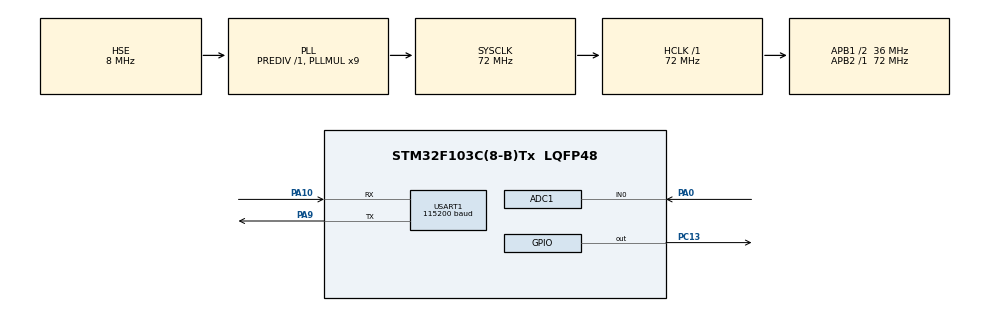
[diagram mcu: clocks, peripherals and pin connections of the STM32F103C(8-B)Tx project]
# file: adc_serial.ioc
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ADC1.Channel-0\#ChannelRegularConversion=ADC_CHANNEL_0
ADC1.NbrOfConversionFlag=1
ADC1.Rank-0\#ChannelRegularConversion=1
ADC1.SamplingTime-0\#ChannelRegularConversion=ADC_SAMPLETIME_71CYCLES_5
ADC1.master=1
Mcu.Family=STM32F1
Mcu.Name=STM32F103C(8-B)Tx
Mcu.Package=LQFP48
NVIC.PriorityGroup=NVIC_PRIORITYGROUP_4
PA0-WKUP.Signal=ADCx_IN0
PA10.Mode=Asynchronous
PA10.Signal=USART1_RX
PA13.Mode=Serial_Wire
PA13.Signal=SYS_JTMS-SWDIO
PA14.Mode=Serial_Wire
PA14.Signal=SYS_JTCK-SWCLK
PA9.Mode=Asynchronous
PA9.Signal=USART1_TX
PC13-TAMPER-RTC.Signal=GPIO_Output
PC14-OSC32_IN.Mode=LSE-External-Oscillator
PC14-OSC32_IN.Signal=RCC_OSC32_IN
PC15-OSC32_OUT.Mode=LSE-External-Oscillator
PC15-OSC32_OUT.Signal=RCC_OSC32_OUT
PD0-OSC_IN.Mode=HSE-External-Oscillator
PD0-OSC_IN.Signal=RCC_OSC_IN
PD1-OSC_OUT.Mode=HSE-External-Oscillator
PD1-OSC_OUT.Signal=RCC_OSC_OUT
ProjectManager.HeapSize=0x200
ProjectManager.StackSize=0x400
ProjectManager.TargetToolchain=Makefile
RCC.ADCPresc=RCC_ADCPCLK2_DIV6
RCC.AHBFreq_Value=72000000
RCC.APB1CLKDivider=RCC_HCLK_DIV2
RCC.APB1Freq_Value=36000000
RCC.APB1TimFreq_Value=72000000
RCC.APB2Freq_Value=72000000
RCC.APB2TimFreq_Value=72000000
RCC.HCLKFreq_Value=72000000
RCC.PLLMUL=RCC_PLL_MUL9
RCC.PLLSourceVirtual=RCC_PLLSOURCE_HSE
RCC.SYSCLKFreq_VALUE=72000000
RCC.SYSCLKSource=RCC_SYSCLKSOURCE_PLLCLK
RCC.USBFreq_Value=72000000
SH.ADCx_IN0.0=ADC1_IN0,IN0
USART1.BaudRate=115200
USART1.VirtualMode=VM_ASYNC
board=custom

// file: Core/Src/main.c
/* USER CODE BEGIN Header */
/**
  ******************************************************************************
  * @file           : main.c
  * @brief          : Main program body
  ******************************************************************************
  * @attention
  *
  * Copyright (c) 2026 STMicroelectronics.
  * All rights reserved.
  *
  * This software is licensed under terms that can be found in the LICENSE file
  * in the root directory of this software component.
  * If no LICENSE file comes with this software, it is provided AS-IS.
  *
  ******************************************************************************
  */
/* USER CODE END Header */
#include "main.h"

/* USER CODE BEGIN Includes */
  #include <stdio.h>
  #include <sys/stat.h>
/* USER CODE END Includes */

/* USER CODE BEGIN PD */
  #define VREF_MV          3300u      /* ADC 参考电压，单位 mV。板子接 3.3V 就写 3300 */
  #define ADC_FULL_SCALE   4095.0f    /* 12 位 ADC 满量程 */
  #define SEND_PERIOD_MS   100u       /* 100ms → 10Hz，和 PC 侧 publish_rate 对上 */
/* USER CODE END PD */

ADC_HandleTypeDef hadc1;

UART_HandleTypeDef huart1;

/* USER CODE BEGIN PV */
  static uint16_t seq = 0;            /* 帧序号：PC 端靠它检测丢帧  为 Step 5 预留，v1 协议暂不发 */
  static uint32_t last_led_tick = 0;
/* USER CODE END PV */

void SystemClock_Config(void);
static void MX_GPIO_Init(void);
static void MX_ADC1_Init(void);
static void MX_USART1_UART_Init(void);

/* USER CODE BEGIN 0 */

/* GCC/newlib 的 printf 最终走到 _write；
   newlib 的 printf → _write_r → _write。
   CubeMX 生成的 Makefile 里 LIBS 含 -lnosys，它提供的空 _write 是弱引用，
   被这里定义的强符号覆盖掉 —— 所以这段写了就生效。 */
int _write(int fd,char *ptr, int len)
{
    (void)fd;
    HAL_UART_Transmit(&huart1, (uint8_t *)ptr, (uint16_t)len, HAL_MAX_DELAY);
    return len;
}

/* USER CODE END 0 */

int main(void)
{

  /* MCU Configuration--------------------------------------------------------*/

  /* Reset of all peripherals, Initializes the Flash interface and the Systick. */
  HAL_Init();

  /* Configure the system clock */
  SystemClock_Config();

  /* Initialize all configured peripherals */
  MX_GPIO_Init();
  MX_ADC1_Init();
  MX_USART1_UART_Init();
  /* USER CODE BEGIN 2 */
  /* ── ADC 校准：F1 的 HAL 不会自动做 ────────────────────────
   * 不校准的话，读数会有一个几十 LSB 的固定偏移。
   * 必须在 ADC 初始化之后、第一次 Start 之前调用一次。
   */
  if (HAL_ADCEx_Calibration_Start(&hadc1) != HAL_OK)
  {
    Error_Handler();
  }

  /* 上电横幅：插上板子先在 miniterm 里看到这行，
   就同时证明了「线对了 + 波特率对了 + 板子在跑」。
   PC 侧 parse_line() 会把它当解析失败静默丢掉，不影响数据。 */
  /* 波特率从 huart1 实读，不再写死 —— 否则改了 BaudRate 以后，
     横幅会撒谎说 115200，把你往错的方向带。 */
  printf("STM32 serial bridge ready | proto=v3 | baud=%lu\r\n",
         (unsigned long)huart1.Init.BaudRate);

  /* ⚠️ seq / last_led_tick 已经定义在上面的 USER CODE BEGIN PV 里（全局），
     这里【不要】再定义一遍 —— 局部变量会遮蔽全局，白留一份死代码。 */
  /* USER CODE END 2 */

  /* Infinite loop */
  while (1)
  {

    /* USER CODE BEGIN 3 */
    /* ── 1) 读一次 ADC ─────────────────────────────── */
    HAL_ADC_Start(&hadc1);
    HAL_ADC_PollForConversion(&hadc1, 10);
    uint32_t raw = HAL_ADC_GetValue(&hadc1);        /* 0 ~ 4095 */

    /* ── 2) 换算成毫伏，【整数化】输出 ────────────────
     * 用整数而不是 float，是为了避开 MCU 上的浮点 printf：
     * Cortex-M3 没有硬件 FPU，浮点格式化又慢又要加额外链接选项。
     * 发的是"毫伏"，PC 端用 -p scale:=0.001 乘回工程量。
     */
    int32_t mv = (int32_t)((float)raw * (float)VREF_MV / ADC_FULL_SCALE + 0.5f);
    int32_t temp_c_x100 = 2500;   /* 温度占位 25.00℃，接了真传感器再换 */
    /* ── 3) 按行发送。行尾 \r\n 是协议的一部分，不能省 ───
     * PC 侧 readline() 靠 \n 切帧，strip() 会吃掉 \r。
     * 用 \r\n 而不是单 \n，是为了在 Windows 串口助手这类工具里
     * 也能正常换行显示（它们不像 miniterm 那样自动处理 \n）。 */
    /* v3：seq, value_mv, raw_adc, temp_c_x100, mcu_tick_ms */
    printf("%u,%ld,%lu,%ld,%lu\r\n",
           (unsigned)seq, (long)mv,
           (unsigned long)raw, (long)temp_c_x100,
           (unsigned long)HAL_GetTick());

    /* ── 4) 帧号自增 ───────────────────────────────── */
    seq++;
    /* LED 心跳：500ms 翻转一次 */
    if (HAL_GetTick() - last_led_tick >= 500u) {
        last_led_tick = HAL_GetTick();
        HAL_GPIO_TogglePin(GPIOC, GPIO_PIN_13);     /* 蓝板 LED 低电平点亮 */
    }
    /* ── 5) 周期延时 → 10Hz ────────────────────────── */
    HAL_Delay(SEND_PERIOD_MS);
  }
  /* USER CODE END 3 */
}

void SystemClock_Config(void)
{
  RCC_OscInitTypeDef RCC_OscInitStruct = {0};
  RCC_ClkInitTypeDef RCC_ClkInitStruct = {0};
  RCC_PeriphCLKInitTypeDef PeriphClkInit = {0};

  /** Initializes the RCC Oscillators according to the specified parameters
  * in the RCC_OscInitTypeDef structure.
  */
  RCC_OscInitStruct.OscillatorType = RCC_OSCILLATORTYPE_HSE;
  RCC_OscInitStruct.HSEState = RCC_HSE_ON;
  RCC_OscInitStruct.HSEPredivValue = RCC_HSE_PREDIV_DIV1;
  RCC_OscInitStruct.HSIState = RCC_HSI_ON;
  RCC_OscInitStruct.PLL.PLLState = RCC_PLL_ON;
  RCC_OscInitStruct.PLL.PLLSource = RCC_PLLSOURCE_HSE;
  RCC_OscInitStruct.PLL.PLLMUL = RCC_PLL_MUL9;
  if (HAL_RCC_OscConfig(&RCC_OscInitStruct) != HAL_OK)
  {
    Error_Handler();
  }

  /** Initializes the CPU, AHB and APB buses clocks
  */
  RCC_ClkInitStruct.ClockType = RCC_CLOCKTYPE_HCLK|RCC_CLOCKTYPE_SYSCLK
                              |RCC_CLOCKTYPE_PCLK1|RCC_CLOCKTYPE_PCLK2;
  RCC_ClkInitStruct.SYSCLKSource = RCC_SYSCLKSOURCE_PLLCLK;
  RCC_ClkInitStruct.AHBCLKDivider = RCC_SYSCLK_DIV1;
  RCC_ClkInitStruct.APB1CLKDivider = RCC_HCLK_DIV2;
  RCC_ClkInitStruct.APB2CLKDivider = RCC_HCLK_DIV1;

  if (HAL_RCC_ClockConfig(&RCC_ClkInitStruct, FLASH_LATENCY_2) != HAL_OK)
  {
    Error_Handler();
  }
  PeriphClkInit.PeriphClockSelection = RCC_PERIPHCLK_ADC;
  PeriphClkInit.AdcClockSelection = RCC_ADCPCLK2_DIV6;
  if (HAL_RCCEx_PeriphCLKConfig(&PeriphClkInit) != HAL_OK)
  {
    Error_Handler();
  }
}

static void MX_ADC1_Init(void)
{

  ADC_ChannelConfTypeDef sConfig = {0};

  /** Common config
  */
  hadc1.Instance = ADC1;
  hadc1.Init.ScanConvMode = ADC_SCAN_DISABLE;
  hadc1.Init.ContinuousConvMode = DISABLE;
  hadc1.Init.DiscontinuousConvMode = DISABLE;
  hadc1.Init.ExternalTrigConv = ADC_SOFTWARE_START;
  hadc1.Init.DataAlign = ADC_DATAALIGN_RIGHT;
  hadc1.Init.NbrOfConversion = 1;
  if (HAL_ADC_Init(&hadc1) != HAL_OK)
  {
    Error_Handler();
  }

  /** Configure Regular Channel
  */
  sConfig.Channel = ADC_CHANNEL_0;
  sConfig.Rank = ADC_REGULAR_RANK_1;
  sConfig.SamplingTime = ADC_SAMPLETIME_71CYCLES_5;
  if (HAL_ADC_ConfigChannel(&hadc1, &sConfig) != HAL_OK)
  {
    Error_Handler();
  }

}

static void MX_USART1_UART_Init(void)
{

  huart1.Instance = USART1;
  huart1.Init.BaudRate = 115200;
  huart1.Init.WordLength = UART_WORDLENGTH_8B;
  huart1.Init.StopBits = UART_STOPBITS_1;
  huart1.Init.Parity = UART_PARITY_NONE;
  huart1.Init.Mode = UART_MODE_TX_RX;
  huart1.Init.HwFlowCtl = UART_HWCONTROL_NONE;
  huart1.Init.OverSampling = UART_OVERSAMPLING_16;
  if (HAL_UART_Init(&huart1) != HAL_OK)
  {
    Error_Handler();
  }

}

static void MX_GPIO_Init(void)
{
  GPIO_InitTypeDef GPIO_InitStruct = {0};

  /* GPIO Ports Clock Enable */
  __HAL_RCC_GPIOC_CLK_ENABLE();
  __HAL_RCC_GPIOD_CLK_ENABLE();
  __HAL_RCC_GPIOA_CLK_ENABLE();

  /*Configure GPIO pin Output Level */
  HAL_GPIO_WritePin(GPIOC, GPIO_PIN_13, GPIO_PIN_RESET);

  /*Configure GPIO pin : PC13 */
  GPIO_InitStruct.Pin = GPIO_PIN_13;
  GPIO_InitStruct.Mode = GPIO_MODE_OUTPUT_PP;
  GPIO_InitStruct.Pull = GPIO_NOPULL;
  GPIO_InitStruct.Speed = GPIO_SPEED_FREQ_LOW;
  HAL_GPIO_Init(GPIOC, &GPIO_InitStruct);

}

void Error_Handler(void)
{
  __disable_irq();
  while (1)
  {
  }
}
